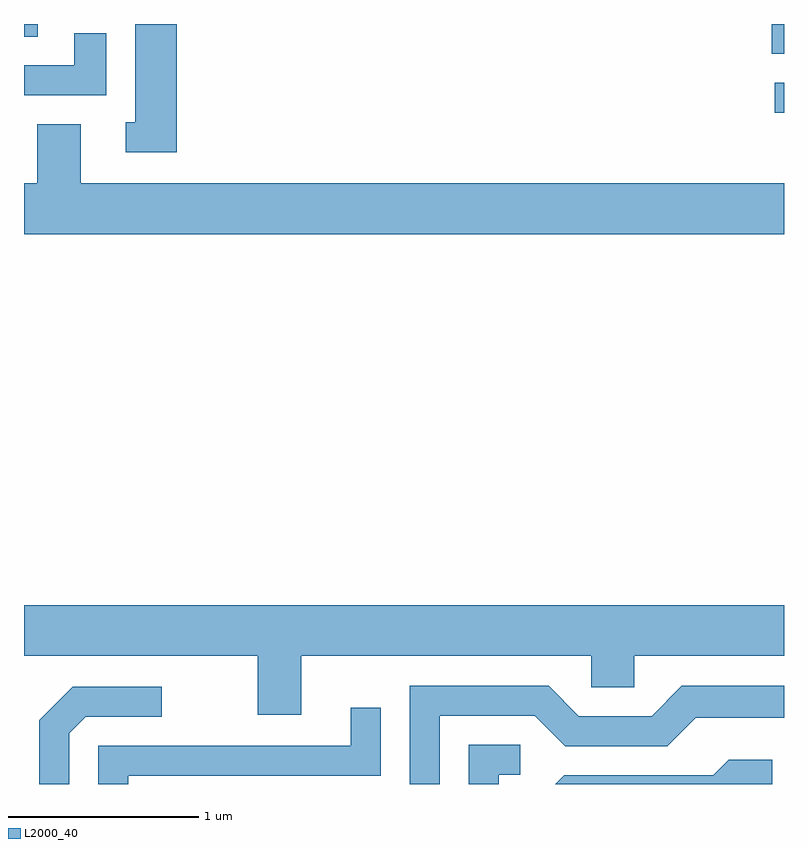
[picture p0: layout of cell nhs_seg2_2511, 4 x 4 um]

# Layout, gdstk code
import gdstk
lib = gdstk.Library(unit=1e-6, precision=1e-09)
def R(c, l, rs):  # rectangles x0, y0, x1, y1
    for r in rs: c.add(gdstk.rectangle(r[:2], r[2:], *l))
def P(c, l, *ps):  # polygons
    for p in ps: c.add(gdstk.Polygon(p, *l))
L2000_40 = (2000, 40)

nhs_seg2_2511 = lib.new_cell('nhs_seg2_2511')
R(nhs_seg2_2511, L2000_40, [(261.563,1113.336,261.611,1113.494), (261.546,1113.646,261.611,1113.802), (257.611,1113.736,257.684,1113.802)])
P(nhs_seg2_2511, L2000_40, [(258.414,1113.802),(258.196,1113.802),(258.196,1113.284),(258.147,1113.284),(258.147,1113.126),(258.414,1113.126)],
  [(258.044,1113.753),(257.876,1113.753),(257.876,1113.584),(257.611,1113.584),(257.611,1113.426),(258.044,1113.426)],
  [(261.611,1112.964),(257.909,1112.964),(257.909,1113.274),(257.681,1113.274),(257.681,1112.964),(257.611,1112.964),(257.611,1112.696),(261.611,1112.696)],
  [(259.069,1110.476),(260.596,1110.476),(260.596,1110.311),(260.824,1110.311),(260.824,1110.476),(261.611,1110.476),(261.611,1110.744),(257.611,1110.744),(257.611,1110.476),(258.841,1110.476),(258.841,1110.166),(259.069,1110.166)],
  [(259.799,1110.161),(260.299,1110.161),(260.459,1110.001),(260.997,1110.001),(261.147,1110.151),(261.611,1110.151),(261.611,1110.319),(261.074,1110.319),(260.914,1110.159),(260.532,1110.159),(260.372,1110.319),(259.641,1110.319),(259.641,1109.802),(259.799,1109.802)],
  [(257.849,1110.069),(257.937,1110.156),(258.337,1110.156),(258.337,1110.314),(257.868,1110.314),(257.691,1110.137),(257.691,1109.802),(257.849,1109.802)],
  [(258.159,1109.846),(259.489,1109.846),(259.489,1110.203),(259.331,1110.203),(259.331,1110.004),(258.001,1110.004),(258.001,1109.802),(258.159,1109.802)],
  [(260.109,1109.851),(260.223,1109.851),(260.223,1110.009),(259.951,1110.009),(259.951,1109.802),(260.109,1109.802)],
  [(261.548,1109.929),(261.319,1109.929),(261.239,1109.849),(260.454,1109.849),(260.407,1109.802),(261.548,1109.802)])

lib.write_gds('nhs_seg2_2511.gds')
